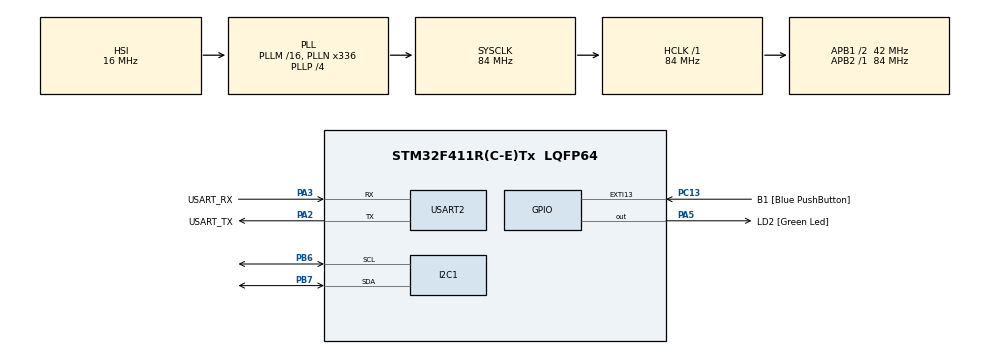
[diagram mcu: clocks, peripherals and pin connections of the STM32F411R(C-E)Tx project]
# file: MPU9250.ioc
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Dma.I2C1_RX.0.Direction=DMA_PERIPH_TO_MEMORY
Dma.I2C1_RX.0.FIFOMode=DMA_FIFOMODE_DISABLE
Dma.I2C1_RX.0.Instance=DMA1_Stream0
Dma.I2C1_RX.0.MemDataAlignment=DMA_MDATAALIGN_BYTE
Dma.I2C1_RX.0.MemInc=DMA_MINC_ENABLE
Dma.I2C1_RX.0.Mode=DMA_CIRCULAR
Dma.I2C1_RX.0.PeriphDataAlignment=DMA_PDATAALIGN_BYTE
Dma.I2C1_RX.0.PeriphInc=DMA_PINC_DISABLE
Dma.I2C1_RX.0.Priority=DMA_PRIORITY_MEDIUM
Dma.I2C1_TX.1.Direction=DMA_MEMORY_TO_PERIPH
Dma.I2C1_TX.1.FIFOMode=DMA_FIFOMODE_DISABLE
Dma.I2C1_TX.1.Instance=DMA1_Stream1
Dma.I2C1_TX.1.MemDataAlignment=DMA_MDATAALIGN_BYTE
Dma.I2C1_TX.1.MemInc=DMA_MINC_ENABLE
Dma.I2C1_TX.1.Mode=DMA_CIRCULAR
Dma.I2C1_TX.1.PeriphDataAlignment=DMA_PDATAALIGN_BYTE
Dma.I2C1_TX.1.PeriphInc=DMA_PINC_DISABLE
Dma.I2C1_TX.1.Priority=DMA_PRIORITY_HIGH
Dma.Request0=I2C1_RX
Dma.Request1=I2C1_TX
I2C1.I2C_Mode=I2C_Standard
I2C1.OwnAddress=0x68
Mcu.Family=STM32F4
Mcu.Name=STM32F411R(C-E)Tx
Mcu.Package=LQFP64
NVIC.DMA1_Stream0_IRQn=true\:0\:0\:false\:false\:true\:false\:true\:true
NVIC.DMA1_Stream1_IRQn=true\:0\:0\:false\:false\:true\:false\:true\:true
NVIC.PriorityGroup=NVIC_PRIORITYGROUP_0
PA13.GPIO_Label=TMS
PA13.Mode=Serial_Wire
PA13.Signal=SYS_JTMS-SWDIO
PA14.GPIO_Label=TCK
PA14.Mode=Serial_Wire
PA14.Signal=SYS_JTCK-SWCLK
PA2.GPIO_Label=USART_TX
PA2.Mode=Asynchronous
PA2.Signal=USART2_TX
PA3.GPIO_Label=USART_RX
PA3.Mode=Asynchronous
PA3.Signal=USART2_RX
PA5.GPIO_Label=LD2 [Green Led]
PA5.Signal=GPIO_Output
PB3.GPIO_Label=SWO
PB3.Signal=SYS_JTDO-SWO
PB6.Mode=I2C
PB6.Signal=I2C1_SCL
PB7.Mode=I2C
PB7.Signal=I2C1_SDA
PC13-ANTI_TAMP.GPIO_Label=B1 [Blue PushButton]
PC13-ANTI_TAMP.GPIO_ModeDefaultEXTI=GPIO_MODE_IT_FALLING
PC13-ANTI_TAMP.Signal=GPXTI13
PC14-OSC32_IN.Mode=LSE-External-Oscillator
PC14-OSC32_IN.Signal=RCC_OSC32_IN
PC15-OSC32_OUT.Mode=LSE-External-Oscillator
PC15-OSC32_OUT.Signal=RCC_OSC32_OUT
PH0\ -\ OSC_IN.Mode=HSE-External-Clock-Source
PH0\ -\ OSC_IN.Signal=RCC_OSC_IN
PH1\ -\ OSC_OUT.Mode=HSE-External-Clock-Source
PH1\ -\ OSC_OUT.Signal=RCC_OSC_OUT
ProjectManager.HeapSize=0x200
ProjectManager.StackSize=0x400
ProjectManager.TargetToolchain=STM32CubeIDE
RCC.48MHZClocksFreq_Value=84000000
RCC.AHBFreq_Value=84000000
RCC.APB1CLKDivider=RCC_HCLK_DIV2
RCC.APB1Freq_Value=42000000
RCC.APB1TimFreq_Value=84000000
RCC.APB2Freq_Value=84000000
RCC.APB2TimFreq_Value=84000000
RCC.CortexFreq_Value=84000000
RCC.FLatency-AdvancedSettings=FLASH_LATENCY_2
RCC.HCLKFreq_Value=84000000
RCC.HSE_VALUE=8000000
RCC.HSI_VALUE=16000000
RCC.PLLN=336
RCC.PLLP=RCC_PLLP_DIV4
RCC.SYSCLKFreq_VALUE=84000000
RCC.SYSCLKSource=RCC_SYSCLKSOURCE_PLLCLK
RCC.VCOOutputFreq_Value=336000000
USART2.VirtualMode=VM_ASYNC
board=NUCLEO-F411RE

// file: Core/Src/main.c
/* USER CODE BEGIN Header */
/**
  ******************************************************************************
  * @file           : main.c
  * @brief          : Main program body
  ******************************************************************************
  * @attention
  *
  * Copyright (c) 2026 STMicroelectronics.
  * All rights reserved.
  *
  * This software is licensed under terms that can be found in the LICENSE file
  * in the root directory of this software component.
  * If no LICENSE file comes with this software, it is provided AS-IS.
  *
  ******************************************************************************
  */
/* USER CODE END Header */
#include "main.h"

/* USER CODE BEGIN Includes */
#include <stdio.h>
#include "stm32f4xx_hal.h"
/* USER CODE END Includes */

/* USER CODE BEGIN PD */
#ifdef __GNUC__
/* With GCC, small printf (option LD Linker->Libraries->Small printf
   set to 'Yes') calls __io_putchar() */
#define PUTCHAR_PROTOTYPE int __io_putchar(int ch)
#else
#define PUTCHAR_PROTOTYPE int fputc(int ch, FILE *f)
#endif /* __GNUC__ */

// MPU9250 I2C 주소
#define MPU9250_ADDR    0xD0  // 7-bit 주소 0x68, Write = 0xD0, Read = 0xD1

// 가속도, 자이로 데이터 레지스터 주소
#define ACCEL_XOUT_H    0x3B
#define ACCEL_YOUT_H    0x3D
#define ACCEL_ZOUT_H    0x3F
#define GYRO_XOUT_H     0x43
#define GYRO_YOUT_H     0x45
#define GYRO_ZOUT_H     0x47

// 필터 설정
#define MA_WINDOW_SIZE  8   // 이동평균 창 크기 (클수록 더 스무스, 반응 느림)
#define LPF_ALPHA       0.85f   // 저역통과 필터 계수 0~1 (높을수록 더 스무스)
/* USER CODE END PD */

I2C_HandleTypeDef hi2c1;
DMA_HandleTypeDef hdma_i2c1_rx;
DMA_HandleTypeDef hdma_i2c1_tx;

UART_HandleTypeDef huart2;

/* USER CODE BEGIN PV */
// 데이터 배열
uint8_t rxData[14];  // 가속도계(6) + 자이로(6) = 12바이트 (14로 여유 있게)

// DMA 전송 완료 플래그
volatile uint8_t dmaTransferComplete = 0;

// 이동평균 필터용 버퍼/상태
static int16_t accel_ma_buf[3][MA_WINDOW_SIZE], gyro_ma_buf[3][MA_WINDOW_SIZE];
static int32_t accel_ma_sum[3] = {0}, gyro_ma_sum[3] = {0};
static uint8_t ma_index = 0;
static uint8_t ma_count = 0;  // 버퍼가 채워진 샘플 수 (MA_WINDOW_SIZE까지 증가 후 유지)

// 저역통과 필터 이전 출력값
static float accel_lpf[3] = {0}, gyro_lpf[3] = {0};
static uint8_t lpf_initialized = 0;
/* USER CODE END PV */

void SystemClock_Config(void);
static void MX_GPIO_Init(void);
static void MX_DMA_Init(void);
static void MX_USART2_UART_Init(void);
static void MX_I2C1_Init(void);
/* USER CODE BEGIN PFP */
// 함수 프로토타입
void I2C_Read_DMA(uint8_t devAddr, uint8_t regAddr, uint8_t *data, uint16_t len);
void MPU9250_Init(void);
void MPU9250_Read_Accel_Gyro_DMA(void);

HAL_StatusTypeDef I2C_Read(uint8_t devAddr, uint8_t regAddr, uint8_t *data, uint16_t len)
{
    return HAL_I2C_Mem_Read(&hi2c1, devAddr, regAddr, 1, data, len, HAL_MAX_DELAY);
}
/* USER CODE END PFP */

int main(void)
{

  /* MCU Configuration--------------------------------------------------------*/

  /* Reset of all peripherals, Initializes the Flash interface and the Systick. */
  HAL_Init();

  /* Configure the system clock */
  SystemClock_Config();

  /* Initialize all configured peripherals */
  MX_GPIO_Init();
  MX_DMA_Init();
  MX_USART2_UART_Init();
  MX_I2C1_Init();
  /* USER CODE BEGIN 2 */
  MPU9250_Init();

  /* USER CODE END 2 */

  /* Infinite loop */
  /* USER CODE BEGIN WHILE */
  while (1)
  {
	  // DMA로 가속도계와 자이로 데이터 읽기
	  MPU9250_Read_Accel_Gyro_DMA();

	  HAL_Delay(500);  // 500ms 딜레이
    /* USER CODE END WHILE */

  }
}

void SystemClock_Config(void)
{
  RCC_OscInitTypeDef RCC_OscInitStruct = {0};
  RCC_ClkInitTypeDef RCC_ClkInitStruct = {0};

  /** Configure the main internal regulator output voltage
  */
  __HAL_RCC_PWR_CLK_ENABLE();
  __HAL_PWR_VOLTAGESCALING_CONFIG(PWR_REGULATOR_VOLTAGE_SCALE1);

  /** Initializes the RCC Oscillators according to the specified parameters
  * in the RCC_OscInitTypeDef structure.
  */
  RCC_OscInitStruct.OscillatorType = RCC_OSCILLATORTYPE_HSI;
  RCC_OscInitStruct.HSIState = RCC_HSI_ON;
  RCC_OscInitStruct.HSICalibrationValue = RCC_HSICALIBRATION_DEFAULT;
  RCC_OscInitStruct.PLL.PLLState = RCC_PLL_ON;
  RCC_OscInitStruct.PLL.PLLSource = RCC_PLLSOURCE_HSI;
  RCC_OscInitStruct.PLL.PLLM = 16;
  RCC_OscInitStruct.PLL.PLLN = 336;
  RCC_OscInitStruct.PLL.PLLP = RCC_PLLP_DIV4;
  RCC_OscInitStruct.PLL.PLLQ = 4;
  if (HAL_RCC_OscConfig(&RCC_OscInitStruct) != HAL_OK)
  {
    Error_Handler();
  }

  /** Initializes the CPU, AHB and APB buses clocks
  */
  RCC_ClkInitStruct.ClockType = RCC_CLOCKTYPE_HCLK|RCC_CLOCKTYPE_SYSCLK
                              |RCC_CLOCKTYPE_PCLK1|RCC_CLOCKTYPE_PCLK2;
  RCC_ClkInitStruct.SYSCLKSource = RCC_SYSCLKSOURCE_PLLCLK;
  RCC_ClkInitStruct.AHBCLKDivider = RCC_SYSCLK_DIV1;
  RCC_ClkInitStruct.APB1CLKDivider = RCC_HCLK_DIV2;
  RCC_ClkInitStruct.APB2CLKDivider = RCC_HCLK_DIV1;

  if (HAL_RCC_ClockConfig(&RCC_ClkInitStruct, FLASH_LATENCY_2) != HAL_OK)
  {
    Error_Handler();
  }
}

static void MX_I2C1_Init(void)
{

  hi2c1.Instance = I2C1;
  hi2c1.Init.ClockSpeed = 100000;
  hi2c1.Init.DutyCycle = I2C_DUTYCYCLE_2;
  hi2c1.Init.OwnAddress1 = 208;
  hi2c1.Init.AddressingMode = I2C_ADDRESSINGMODE_7BIT;
  hi2c1.Init.DualAddressMode = I2C_DUALADDRESS_DISABLE;
  hi2c1.Init.OwnAddress2 = 0;
  hi2c1.Init.GeneralCallMode = I2C_GENERALCALL_DISABLE;
  hi2c1.Init.NoStretchMode = I2C_NOSTRETCH_DISABLE;
  if (HAL_I2C_Init(&hi2c1) != HAL_OK)
  {
    Error_Handler();
  }

}

static void MX_USART2_UART_Init(void)
{

  huart2.Instance = USART2;
  huart2.Init.BaudRate = 115200;
  huart2.Init.WordLength = UART_WORDLENGTH_8B;
  huart2.Init.StopBits = UART_STOPBITS_1;
  huart2.Init.Parity = UART_PARITY_NONE;
  huart2.Init.Mode = UART_MODE_TX_RX;
  huart2.Init.HwFlowCtl = UART_HWCONTROL_NONE;
  huart2.Init.OverSampling = UART_OVERSAMPLING_16;
  if (HAL_UART_Init(&huart2) != HAL_OK)
  {
    Error_Handler();
  }

}

static void MX_DMA_Init(void)
{

  /* DMA controller clock enable */
  __HAL_RCC_DMA1_CLK_ENABLE();

  /* DMA interrupt init */
  /* DMA1_Stream0_IRQn interrupt configuration */
  HAL_NVIC_SetPriority(DMA1_Stream0_IRQn, 0, 0);
  HAL_NVIC_EnableIRQ(DMA1_Stream0_IRQn);
  /* DMA1_Stream1_IRQn interrupt configuration */
  HAL_NVIC_SetPriority(DMA1_Stream1_IRQn, 0, 0);
  HAL_NVIC_EnableIRQ(DMA1_Stream1_IRQn);

}

static void MX_GPIO_Init(void)
{
  GPIO_InitTypeDef GPIO_InitStruct = {0};

  /* GPIO Ports Clock Enable */
  __HAL_RCC_GPIOC_CLK_ENABLE();
  __HAL_RCC_GPIOH_CLK_ENABLE();
  __HAL_RCC_GPIOA_CLK_ENABLE();
  __HAL_RCC_GPIOB_CLK_ENABLE();

  /*Configure GPIO pin Output Level */
  HAL_GPIO_WritePin(LD2_GPIO_Port, LD2_Pin, GPIO_PIN_RESET);

  /*Configure GPIO pin : B1_Pin */
  GPIO_InitStruct.Pin = B1_Pin;
  GPIO_InitStruct.Mode = GPIO_MODE_IT_FALLING;
  GPIO_InitStruct.Pull = GPIO_NOPULL;
  HAL_GPIO_Init(B1_GPIO_Port, &GPIO_InitStruct);

  /*Configure GPIO pin : LD2_Pin */
  GPIO_InitStruct.Pin = LD2_Pin;
  GPIO_InitStruct.Mode = GPIO_MODE_OUTPUT_PP;
  GPIO_InitStruct.Pull = GPIO_NOPULL;
  GPIO_InitStruct.Speed = GPIO_SPEED_FREQ_LOW;
  HAL_GPIO_Init(LD2_GPIO_Port, &GPIO_InitStruct);

}

/* USER CODE BEGIN 4 */
// MPU9250 초기화 함수
void MPU9250_Init(void)
{
    uint8_t check;
    uint8_t data;

    // MPU9250이 제대로 연결되어 있는지 확인
    I2C_Read(MPU9250_ADDR, 0x75, &check, 1); // WHO_AM_I 레지스터 읽기
    if (check == 0x71) {
        // 정상적으로 연결되어 있다면 초기화 시작
        // PWR_MGMT_1 레지스터 설정 (센서 켜기)
        data = 0x00; // No sleep mode
        HAL_I2C_Mem_Write(&hi2c1, MPU9250_ADDR, 0x6B, 1, &data, 1, HAL_MAX_DELAY);
    }

}

// 가속도계와 자이로 데이터 읽기 (이동평균 + 저역통과 필터 적용)
void MPU9250_Read_Accel_Gyro_DMA(void)
{
    // I2C를 통해 DMA로 데이터를 읽습니다.
    I2C_Read_DMA(MPU9250_ADDR, ACCEL_XOUT_H, rxData, 14);  // 가속도계와 자이로 데이터(12바이트) 읽기

    // DMA 전송 완료 대기 (타임아웃 100ms - 실패 시 무한 루프 방지)
    uint32_t tick = HAL_GetTick();
    while (!dmaTransferComplete && (HAL_GetTick() - tick < 100));
    if (!dmaTransferComplete) {
        printf("MPU9250 DMA timeout\r\n");
        return;
    }

    // 가속도계와 자이로 raw 데이터를 16비트 값으로 변환
    int16_t accel_raw[3], gyro_raw[3];
    accel_raw[0] = (int16_t)((rxData[0] << 8) | rxData[1]);
    accel_raw[1] = (int16_t)((rxData[2] << 8) | rxData[3]);
    accel_raw[2] = (int16_t)((rxData[4] << 8) | rxData[5]);
    gyro_raw[0] = (int16_t)((rxData[6] << 8) | rxData[7]);
    gyro_raw[1] = (int16_t)((rxData[8] << 8) | rxData[9]);
    gyro_raw[2] = (int16_t)((rxData[10] << 8) | rxData[11]);

    // ---- 1) 이동평균 필터 ----
    int16_t accel_ma[3], gyro_ma[3];
    for (int i = 0; i < 3; i++) {
        if (ma_count < MA_WINDOW_SIZE) {
            accel_ma_buf[i][ma_count] = accel_raw[i];
            accel_ma_sum[i] += accel_raw[i];
            accel_ma[i] = (int16_t)(accel_ma_sum[i] / (ma_count + 1));
        } else {
            accel_ma_sum[i] -= accel_ma_buf[i][ma_index];
            accel_ma_buf[i][ma_index] = accel_raw[i];
            accel_ma_sum[i] += accel_raw[i];
            accel_ma[i] = (int16_t)(accel_ma_sum[i] / MA_WINDOW_SIZE);
        }
    }
    for (int i = 0; i < 3; i++) {
        if (ma_count < MA_WINDOW_SIZE) {
            gyro_ma_buf[i][ma_count] = gyro_raw[i];
            gyro_ma_sum[i] += gyro_raw[i];
            gyro_ma[i] = (int16_t)(gyro_ma_sum[i] / (ma_count + 1));
        } else {
            gyro_ma_sum[i] -= gyro_ma_buf[i][ma_index];
            gyro_ma_buf[i][ma_index] = gyro_raw[i];
            gyro_ma_sum[i] += gyro_raw[i];
            gyro_ma[i] = (int16_t)(gyro_ma_sum[i] / MA_WINDOW_SIZE);
        }
    }
    if (ma_count < MA_WINDOW_SIZE)
        ma_count++;
    else
        ma_index = (ma_index + 1) % MA_WINDOW_SIZE;

    // ---- 2) 저역통과 필터 (1차 IIR: y = alpha*y_prev + (1-alpha)*x) ----
    for (int i = 0; i < 3; i++) {
        if (!lpf_initialized) {
            accel_lpf[i] = (float)accel_ma[i];
            gyro_lpf[i] = (float)gyro_ma[i];
        } else {
            accel_lpf[i] = LPF_ALPHA * accel_lpf[i] + (1.0f - LPF_ALPHA) * (float)accel_ma[i];
            gyro_lpf[i] = LPF_ALPHA * gyro_lpf[i] + (1.0f - LPF_ALPHA) * (float)gyro_ma[i];
        }
    }
    lpf_initialized = 1;

    // 필터 적용된 값 출력
    printf("-------------------------------------------------------------------------------------\r\n");
    printf("Accel X: %d, Y: %d, Z: %d\r\n", (int)accel_lpf[0], (int)accel_lpf[1], (int)accel_lpf[2]);
    printf("Gyro X: %d, Y: %d, Z: %d\r\n", (int)gyro_lpf[0], (int)gyro_lpf[1], (int)gyro_lpf[2]);
    printf("-------------------------------------------------------------------------------------\r\n");

    // DMA 전송 완료 플래그 리셋
    dmaTransferComplete = 0;
}

// I2C Mem Read DMA 완료 콜백 - HAL이 이 콜백을 호출함 (HAL_DMA_XferCpltCallback은 I2C 드라이버가 덮어써서 호출되지 않음)
void HAL_I2C_MemRxCpltCallback(I2C_HandleTypeDef *hi2c)
{
    if (hi2c->Instance == I2C1)
    {
        dmaTransferComplete = 1;
    }
}

// I2C로 데이터 읽기 DMA 함수 (Mem_Read_DMA: 레지스터 주소 전송 + Repeated Start + 데이터 수신을 한 번에 처리)
void I2C_Read_DMA(uint8_t devAddr, uint8_t regAddr, uint8_t *data, uint16_t len)
{
    dmaTransferComplete = 0;  // 새 전송 전 플래그 리셋
    HAL_I2C_Mem_Read_DMA(&hi2c1, devAddr, regAddr, I2C_MEMADD_SIZE_8BIT, data, len);
}

PUTCHAR_PROTOTYPE
{
  /* Place your implementation of fputc here */
  /* e.g. write a character to the USART6 and Loop until the end of transmission */
  HAL_UART_Transmit(&huart2, (uint8_t *)&ch, 1, 0xFFFF);

  return ch;
}

/* USER CODE END 4 */

void Error_Handler(void)
{
  __disable_irq();
  while (1)
  {
  }
}
